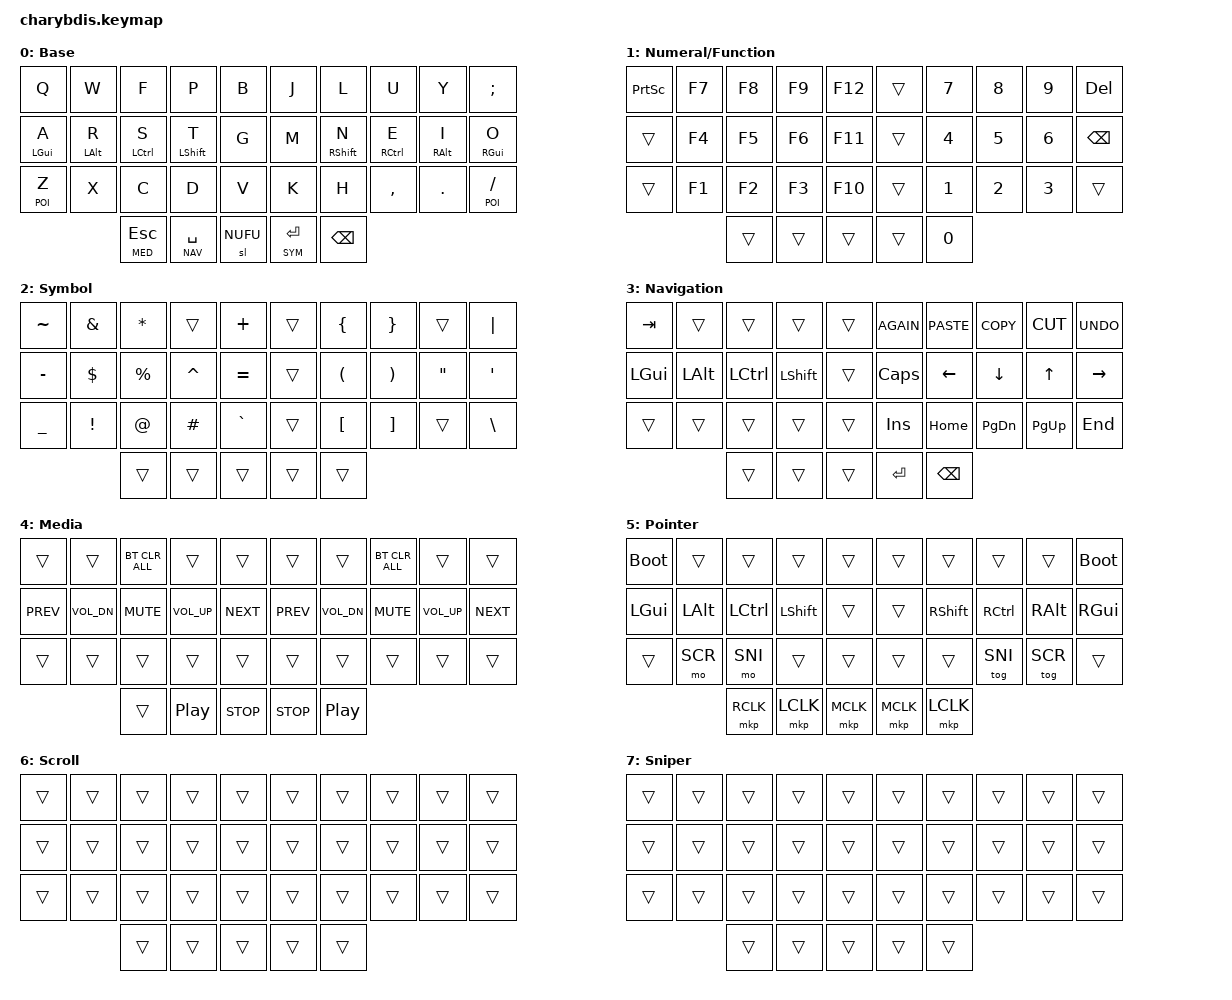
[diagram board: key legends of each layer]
#include <dt-bindings/zmk/mouse.h>
#include <behaviors/mouse_keys.dtsi>
#include <behaviors.dtsi>
#include <dt-bindings/zmk/bt.h>
#include <dt-bindings/zmk/keys.h>

#define BASE 0
#define NUFU 1
#define SYM 2
#define NAV 3
#define MED 4
#define POI 5
#define SCR 6
#define SNI 7

&sl {
  release-after-ms = <250>;
};

&mt {
    tapping-term-ms = <200>;
    require-prior-idle-ms = <150>;
};

/ {
    chosen { zmk,matrix_transform = &five_column_transform; };

    #include "combos.dtsi"

    behaviors {
        hml: homewrow_mods_left {
            compatible = "zmk,behavior-hold-tap";
            label = "HOMEROW_MODS_LEFT_HAND";
            bindings = <&kp>, <&kp>;

            #binding-cells = <2>;
            tapping-term-ms = <280>;
            hold-trigger-key-positions = <5 6 7 8 9 15 16 17 18 19 25 26 27 28 29 33 34>;
            flavor = "balanced";
            quick-tap-ms = <175>;
            require-prior-idle-ms = <125>;
            hold-trigger-on-release;
        };

        hmr: homewrow_mods_right {
            compatible = "zmk,behavior-hold-tap";
            label = "HOMEROW_MODS_RIGHT_HAND";
            bindings = <&kp>, <&kp>;

            #binding-cells = <2>;
            tapping-term-ms = <280>;
            hold-trigger-key-positions = <0 1 2 3 4 10 11 12 13 14 20 21 22 23 24 30 31 32>;
            flavor = "balanced";
            quick-tap-ms = <175>;
            require-prior-idle-ms = <125>;
            hold-trigger-on-release;
        };
    };


    keymap {
        compatible = "zmk,keymap";
        Base {
            label = "Base";
            bindings = <
              &kp       Q  &kp       W  &kp        F  &kp        P  &kp B        &kp J          &kp        L  &kp        U  &kp       Y  &kp  SEMICOLON  
              &hml LGUI A  &hml LALT R  &hml LCTRL S  &hml LSHFT T  &kp G        &kp M          &hml RSHFT N  &hml RCTRL E  &hml RALT I  &hml RGUI O  
              &lt   POI Z  &kp       X  &kp        C  &kp        D  &kp V        &kp K          &kp        H  &kp    COMMA  &kp     DOT  &lt POI SLASH
                                        &lt MED ESC  &lt NAV SPACE  &sl NUFU     &lt SYM ENTER  &kp BACKSPACE
            >;
        };

        NuFu {
            label = "Numeral/Function";
            bindings = <
                &kp PRINTSCREEN &kp F7  &kp F8  &kp F9 &kp F12        &trans  &kp N7  &kp N8  &kp N9  &kp DELETE
                &trans          &kp F4  &kp F5  &kp F6 &kp F11        &trans  &kp N4  &kp N5  &kp N6  &kp BACKSPACE
                &trans          &kp F1  &kp F2  &kp F3 &kp F10        &trans  &kp N1  &kp N2  &kp N3  &trans
                                        &trans  &trans  &trans        &trans &kp N0 
            >;
        };

        Symbol {
            label = "Symbol";
            bindings = <
              &kp TILDE &kp AMPS  &kp STAR   &trans    &kp PLUS        &trans &kp LBRC  &kp RBRC  &trans  &kp PIPE
              &kp MINUS &kp DLLR  &kp PRCNT  &kp CARET &kp EQUAL       &trans &kp LPAR  &kp RPAR  &kp DQT &kp APOS
              &kp UNDER &kp EXCL  &kp AT     &kp HASH  &kp GRAVE       &trans &kp LBKT  &kp RBKT  &trans  &kp BSLH
                                  &trans     &trans    &trans          &trans &trans
            >;
        };

        Navigation {
            label = "Navigation";
            bindings = <
                &kp TAB     &trans      &trans      &trans      &trans         &kp K_AGAIN  &kp K_PASTE &kp K_COPY      &kp K_CUT   &kp K_UNDO
                &kp LGUI    &kp LALT    &kp LCTRL   &kp LSHFT   &trans         &kp CAPSLOCK &kp LEFT    &kp DOWN        &kp UP      &kp RIGHT
                &trans      &trans      &trans      &trans      &trans         &kp INS      &kp HOME    &kp PAGE_DOWN   &kp PAGE_UP &kp END
                                        &trans      &trans      &trans         &kp ENTER    &kp BACKSPACE
            >;
        };

        Media {
            label = "Media";
            bindings = <
              &trans     &trans        &bt BT_CLR_ALL &trans       &trans            &trans      &trans        &bt BT_CLR_ALL  &trans        &trans
              &kp C_PREV &kp C_VOL_DN  &kp C_MUTE     &kp C_VOL_UP &kp C_NEXT        &kp C_PREV  &kp C_VOL_DN  &kp C_MUTE      &kp C_VOL_UP  &kp C_NEXT
              &trans     &trans        &trans         &trans       &trans            &trans      &trans        &trans          &trans        &trans
                                       &trans    &kp C_PLAY_PAUSE  &kp C_STOP        &kp C_STOP  &kp C_PLAY_PAUSE
            >;
        };

        Pointer {
            label = "Pointer";
            bindings = <
                &bootloader   &trans    &trans      &trans      &trans              &trans      &trans      &trans      &trans      &bootloader
                &kp LGUI      &kp LALT  &kp LCTRL   &kp LSHFT   &trans              &trans      &kp RSHFT   &kp RCTRL   &kp RALT    &kp RGUI
                &trans        &mo SCR   &mo SNI     &trans      &trans              &trans      &trans      &tog SNI    &tog SCR    &trans
                                        &mkp RCLK   &mkp LCLK   &mkp MCLK           &mkp MCLK   &mkp LCLK
            >;
        };

        Scroll {
            label = "Scroll";
            bindings = <
                &trans  &trans  &trans  &trans  &trans    &trans  &trans  &trans  &trans  &trans
                &trans  &trans  &trans  &trans  &trans    &trans  &trans  &trans  &trans  &trans
                &trans  &trans  &trans  &trans  &trans    &trans  &trans  &trans  &trans  &trans
                                &trans  &trans  &trans    &trans  &trans
            >;
        };

        Sniper {
            label = "Sniper";
            bindings = <
                &trans  &trans  &trans  &trans  &trans    &trans  &trans  &trans  &trans  &trans
                &trans  &trans  &trans  &trans  &trans    &trans  &trans  &trans  &trans  &trans
                &trans  &trans  &trans  &trans  &trans    &trans  &trans  &trans  &trans  &trans
                                &trans  &trans  &trans    &trans  &trans
            >;
        };
    };
};
